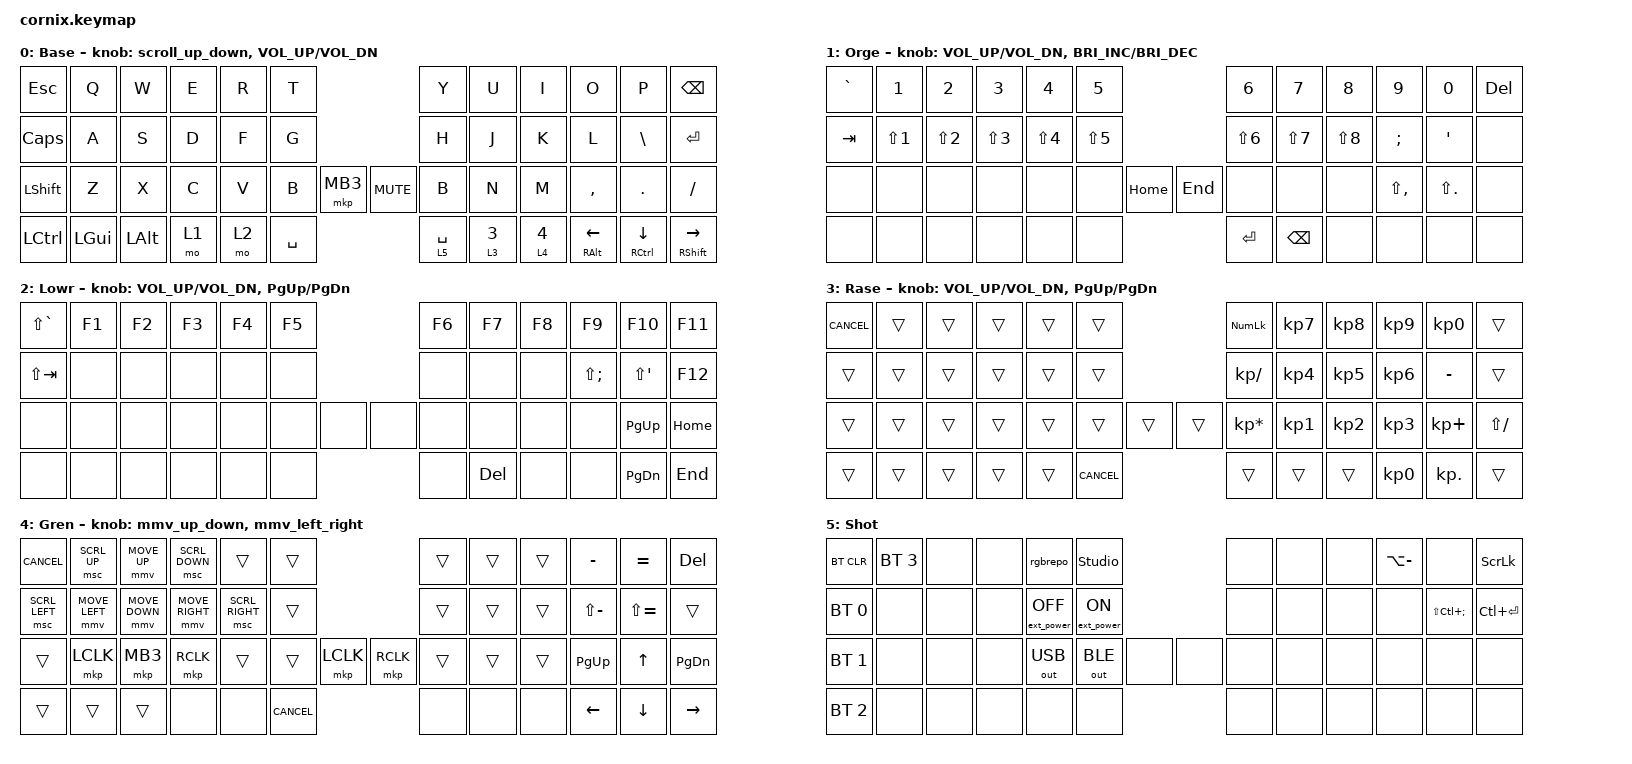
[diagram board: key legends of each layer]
/*
 * Copyright (c) 2025 The ZMK Contributors
 *
 * SPDX-License-Identifier: MIT
 */


#include <zmk-helpers/helper.h>
#include "includes/cornix54.h"
#include <behaviors.dtsi>
#include <dt-bindings/zmk/bt.h>
#include <dt-bindings/zmk/keys.h>
#define HM_TAPPING_TERM 250
#define HM_TAPPING_REPEAT 210
#define HM_TAPPING_TERM_FAST    200
#define HM_PRIOR_IDLE           70
#define ORANGE                  0
#define LOWER                   1
#define BASE                    2
#define RAISE                   3
#define GREEN                   4
#define KEYS_L LT0 LT1 LT2 LT3 LT4 LT5 LM0 LM1 LM2 LM3 LM4 LM5 LB0 LB1 LB2 LB3 LB4 LB5  // left hand
#define KEYS_R RT0 RT1 RT2 RT3 RT4 RT5 RM0 RM1 RM2 RM3 RM4 RM5 RB0 RB1 RB2 RB3 RB4 RB5  // right hand
#define THUMBS LH1 LH0 RH0 RH1
#define KEYS_T LH1 LH0 RH0 RH1
#define ZMK_POINTING_DEFAULT_SCRL_VAL 15

#include <behaviors.dtsi>
#include <dt-bindings/zmk/bt.h>
#include <dt-bindings/zmk/ext_power.h>
#include <dt-bindings/zmk/keys.h>
#include <dt-bindings/zmk/outputs.h>
#include <dt-bindings/zmk/pointing.h>

#include <behaviors/rgbled_widget.dtsi> // rgbled-widget custom behavior

/ {
    conditional_layers { compatible = "zmk,conditional-layers"; };

    combos {
        compatible = "zmk,combos";
        timeout-ms = <35>;

        left_pare {
            bindings = <&kp LEFT_PARENTHESIS>;
            key-positions = <9 10>;
        };

        right_pare {
            bindings = <&kp RIGHT_PARENTHESIS>;
            key-positions = <10 11>;
        };

        left_bracket {
            bindings = <&kp LEFT_BRACKET>;
            key-positions = <21 22>;
        };

        right_brace {
            bindings = <&kp RIGHT_BRACKET>;
            key-positions = <22 23>;
        };

        up {
            bindings = <&kp UP_ARROW>;
            key-positions = <36 37>;
        };

        tab {
            bindings = <&kp TAB>;
            key-positions = <12 13>;
        };

        grave {
            bindings = <&kp GRAVE>;
            key-positions = <0 1>;
        };

        lead_BT {
            bindings = <&lead_BT>;
            key-positions = <5 6>;
        };

    };

    behaviors {
        DKP_TH: DKP_TH {
            compatible = "zmk,behavior-hold-tap";
            label = "DKP_TH";
            bindings = <&kp>, <&kp>;

            #binding-cells = <2>;
            tapping-term-ms = <200>;
            flavor = "balanced";
        };

        kp_mo: kp_mo {
            compatible = "zmk,behavior-hold-tap";
            label = "KP_MO";
            bindings = <&mo>, <&kp>;

            #binding-cells = <2>;
            tapping-term-ms = <500>;
        };

        scroll_up_down: scroll_up_down {
            compatible = "zmk,behavior-sensor-rotate";
            label = "SCROLL_UP_DOWN";
            #sensor-binding-cells = <0>;
            bindings = <&msc SCRL_DOWN>, <&msc SCRL_UP>;

            tap-ms = <100>;
        };

        mmv_up_down: mmv_up_down {
            compatible = "zmk,behavior-sensor-rotate";
            label = "MMV_UP_DOWN";
            #sensor-binding-cells = <0>;
            bindings = <&mmv MOVE_DOWN>, <&mmv MOVE_UP>;

            tap-ms = <100>;
        };

        mmv_left_right: mmv_left_right {
            compatible = "zmk,behavior-sensor-rotate";
            label = "MMV_LEFT_RIGHT";
            #sensor-binding-cells = <0>;
            bindings = <&mmv MOVE_RIGHT>, <&mmv MOVE_LEFT>;

            tap-ms = <100>;
        };

        arrow_HT: arrow_HT {
            compatible = "zmk,behavior-hold-tap";
            label = "ARROW_HT";
            #binding-cells = <2>;
            bindings = <&kp>, <&kp>;

            tapping-term-ms = <260>;
            quick-tap-ms = <250>;
        };

        // modified from urob num_word
        num_word: num_word {
            compatible = "zmk,behavior-auto-layer";
            #binding-cells = <1>;
            continue-list = <
                BACKSPACE DELETE DOT COMMA PLUS MINUS STAR FSLH EQUAL   /* urob default */
                KP_DOT KP_PLUS KP_MULTIPLY KP_DIVIDE KP_MINUS KP_NUMLOCK   /* add num pad */
            >;
            ignore-numbers;
        };

        auto_mouse: auto_mouse {
            compatible = "zmk,behavior-auto-layer";
            #binding-cells = <1>;
            continue-list = <PG_UP PG_DN
            UP_ARROW DOWN_ARROW LEFT_ARROW RIGHT_ARROW
            >;
            ignore-modifiers;
        };

        smart_num: smart_num {
            compatible = "zmk,behavior-hold-tap";
            label = "SMART_NUM";
            #binding-cells = <2>;
            bindings = <&mo>, <&num_word>;

            tapping-term-ms = <200>;
        };

        smart_mouse: smart_mouse {
            compatible = "zmk,behavior-hold-tap";
            label = "SMART_MOUSE";
            #binding-cells = <2>;
            bindings = <&mo>, <&auto_mouse>;

            tapping-term-ms = <200>;
        };

        lead_BT: lead_BT {
            compatible = "zmk,behavior-leader-key";
            #binding-cells = <0>;
            usb { sequence = <U S B>; bindings = <&out OUT_USB>; };
            ble { sequence = <B L E>; bindings = <&out OUT_BLE>; };
            bt0 { sequence = <B Q>; bindings = <&bt BT_SEL 0>; };
            bt1 { sequence = <B W>; bindings = <&bt BT_SEL 1>; };
            bt2 { sequence = <B E>; bindings = <&bt BT_SEL 2>; };
            bt3 { sequence = <B R>; bindings = <&bt BT_SEL 3>; };
            bt4 { sequence = <B T>; bindings = <&bt BT_SEL 4>; };
            btc { sequence = <C L E A R>; bindings = <&bt BT_CLR>; };
        };

    };

    /* ===== behavior alias define ===== */

    #define A_ALT   &arrow_HT RIGHT_ALT LEFT
    #define A_SFT   &arrow_HT RSHFT     RIGHT
    #define A_CTRL  &arrow_HT RCTRL     DOWN

    #define L5_SP &kp_mo 5 SPACE

    #define SM_L3 &smart_num 3 3
    #define SM_L4 &smart_mouse 4 4

    keymap {
        compatible = "zmk,keymap";

        default_layer {
            display-name = "Base";
            bindings = <
&kp ESCAPE        &kp Q         &kp W         &kp E  &kp R  &kp T                            &kp Y  &kp U  &kp I  &kp O      &kp P          &kp BACKSPACE
&kp CAPS          &kp A         &kp S         &kp D  &kp F  &kp G                            &kp H  &kp J  &kp K  &kp L      &kp BACKSLASH  &kp ENTER
&kp LSHFT         &kp Z         &kp X         &kp C  &kp V  &kp B      &mkp MB3  &kp C_MUTE  &kp B  &kp N  &kp M  &kp COMMA  &kp PERIOD     &kp SLASH
&kp LEFT_CONTROL  &kp LEFT_GUI  &kp LEFT_ALT  &mo 1  &mo 2  &kp SPACE                        L5_SP  SM_L3  SM_L4  A_ALT      A_CTRL         A_SFT
            >;

            sensor-bindings =
                <&scroll_up_down>,
                <&inc_dec_kp C_VOLUME_UP C_VOL_DN>;
        };

        orange_layer {
            display-name = "Orge";
            bindings = <
&kp GRAVE  &kp NUMBER_1      &kp N2            &kp N3            &kp N4            &kp N5                         &kp N6            &kp N7         &kp N8      &kp N9         &kp N0            &kp DEL
&kp TAB    &kp LS(NUMBER_1)  &kp LS(NUMBER_2)  &kp LS(NUMBER_3)  &kp LS(NUMBER_4)  &kp LS(N5)                     &kp LS(NUMBER_6)  &kp LS(N7)     &kp LS(N8)  &kp SEMICOLON  &kp SINGLE_QUOTE  &none
&none      &none             &none             &none             &none             &none       &kp HOME  &kp END  &none             &none          &none       &kp LS(COMMA)  &kp LS(PERIOD)    &none
&none      &none             &none             &none             &none             &none                          &kp ENTER         &kp BACKSPACE  &none       &none          &none             &none
            >;

            sensor-bindings =
                <&inc_dec_kp C_VOL_UP C_VOL_DN>,
                <&inc_dec_kp C_BRIGHTNESS_INC C_BRIGHTNESS_DEC>;
        };

        lower_layer {
            display-name = "Lowr";
            bindings = <
&kp LS(GRAVE)  &kp F1  &kp F2  &kp F3  &kp F4  &kp F5                &kp F6  &kp F7      &kp F8  &kp F9        &kp F10        &kp F11
&kp LS(TAB)    &none   &none   &none   &none   &none                 &none   &none       &none   &kp LS(SEMI)  &kp LS(APOS)   &kp F12
&none          &none   &none   &none   &none   &none   &none  &none  &none   &none       &none   &none         &kp PAGE_UP    &kp HOME
&none          &none   &none   &none   &none   &none                 &none   &kp DELETE  &none   &none         &kp PAGE_DOWN  &kp END
            >;

            sensor-bindings = <&inc_dec_kp C_VOL_UP C_VOL_DN &inc_dec_kp PG_UP PG_DN>;
        };

        raise_layer {
            display-name = "Rase";
            bindings = <
&kp K_CANCEL  &trans  &trans  &trans  &trans  &trans                       &kp KP_NUMLOCK   &kp KP_NUMBER_7  &kp KP_N8        &kp KP_N9        &kp KP_NUMBER_0  &trans
&trans        &trans  &trans  &trans  &trans  &trans                       &kp KP_DIVIDE    &kp KP_NUMBER_4  &kp KP_NUMBER_5  &kp KP_NUMBER_6  &kp MINUS        &trans
&trans        &trans  &trans  &trans  &trans  &trans       &trans  &trans  &kp KP_MULTIPLY  &kp KP_NUMBER_1  &kp KP_NUMBER_2  &kp KP_NUMBER_3  &kp KP_PLUS      &kp LS(SLASH)
&trans        &trans  &trans  &trans  &trans  &kp K_CANCEL                 &trans           &trans           &trans           &kp KP_NUMBER_0  &kp KP_DOT       &trans
            >;

            sensor-bindings = <&inc_dec_kp C_VOL_UP C_VOL_DN &inc_dec_kp PG_UP PG_DN>;
        };

        green_layer {
            display-name = "Gren";
            bindings = <
&kp K_CANCEL   &msc SCRL_UP     &mmv MOVE_UP    &msc SCRL_DOWN   &trans            &trans                             &trans  &trans  &trans  &kp MINUS       &kp EQUAL       &kp DELETE
&msc SCRL_LEFT &mmv MOVE_LEFT   &mmv MOVE_DOWN  &mmv MOVE_RIGHT  &msc SCRL_RIGHT   &trans                             &trans  &trans  &trans  &kp LS(MINUS)   &kp LS(EQUAL)   &trans
&trans         &mkp LCLK        &mkp MB3        &mkp RCLK        &trans            &trans       &mkp LCLK  &mkp RCLK  &trans  &trans  &trans  &kp PAGE_UP     &kp UP_ARROW    &kp PAGE_DOWN
&trans         &trans           &trans          &none            &none             &kp K_CANCEL                       &none   &none   &none   &kp LEFT_ARROW  &kp DOWN_ARROW  &kp RIGHT_ARROW
            >;

            sensor-bindings =
                <&mmv_up_down>,
                <&mmv_left_right>;
        };

        shortcut_layer {
            display-name = "Shot";
            bindings = <
&bt BT_CLR    &bt BT_SEL 3  &none    &none   &rgbrepo            &studio_unlock                  &none  &none &none  &kp LA(MINUS)  &none             &kp SCROLLLOCK
&bt BT_SEL 0  &none         &none    &none   &ext_power EP_OFF   &ext_power EP_ON                &none  &none &none  &none          &kp LS(LC(SEMI))  &kp LC(RET)
&bt BT_SEL 1  &none         &none    &none   &out OUT_USB        &out OUT_BLE      &none  &none  &none  &none &none  &none          &none             &none
&bt BT_SEL 2  &none         &none    &none   &none               &none                           &none  &none &none  &none          &none             &none
            >;
        };

        extra1 { status = "reserved"; };

        extra2 { status = "reserved"; };
    };
};
